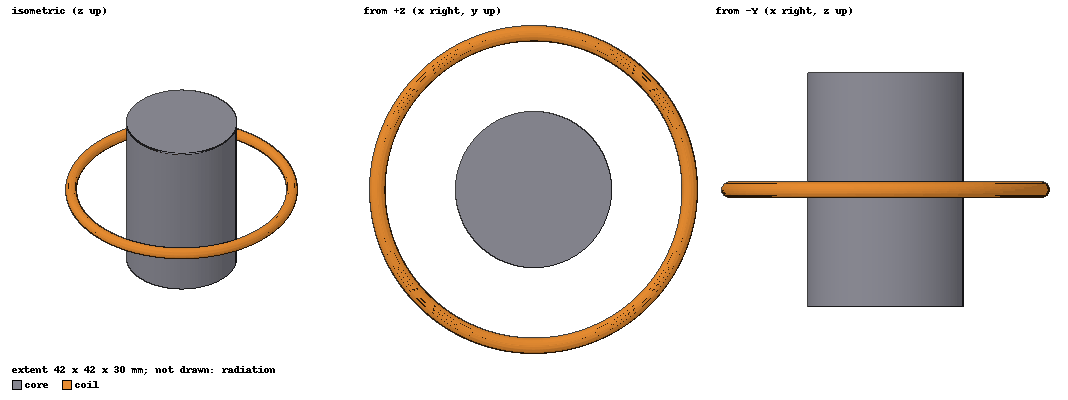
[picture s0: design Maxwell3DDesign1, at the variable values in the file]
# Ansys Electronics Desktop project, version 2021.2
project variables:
  $mu = 5000
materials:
  vacuum: permittivity=1
  copper: permeability=0.999991 conductivity=58000000
  Material1: permeability=$mu
  iron: permeability=4000 conductivity=10300000
  Steel_1008: permeability{HUnit=A_per_meter BUnit=tesla curve (0, 0) (159.2, 0.2402) (318.3, 0.8654) (477.5, 1.1106) (636.6, 1.2458) (795.8, 1.331) (1591.5, 1.5) (3183.1, 1.6) (4774.6, 1.683) (6366.2, 1.741) (7957.7, 1.78) (15915.5, 1.905) (31831, 2.025) (47746.5, 2.085) (63662, 2.13) (79577.5, 2.165) (159155, 2.28) (318310, 2.485) (397887, 2.5851)}
  Material06_precise: permeability{HUnit=A_per_meter BUnit=tesla curve (0, 0) (1, 0.000797) (1.149757, 0.000916) (1.321941, 0.001054) (1.519911, 0.001211) (1.747528, 0.001393) (2.009233, 0.001601) (2.31013, 0.001841) (2.656088, 0.002117) (3.053856, 0.002434) (3.511192, 0.002799) (4.037017, 0.003218) (4.641589, 0.003699) (5.336699, 0.004254) (6.135907, 0.00489) (7.054802, 0.005623) (8.111308, 0.006465) (9.326033, 0.007433) (10.722672, 0.008546) (12.328467, 0.009826) (14.174742, 0.011298) (16.297508, 0.012989) (18.738174, 0.014934) (21.544347, 0.017171) (24.770764, 0.019742) (28.480359, 0.022698) (32.745492, 0.026097) (37.649358, 0.030004) (43.287613, 0.034496) (49.770236, 0.03966) (57.223677, 0.045597) (65.793322, 0.05242) (75.646333, 0.060264) (86.9749, 0.069278) (100, 0.079637) (114.9757, 0.091539) (132.194115, 0.10521) (151.991108, 0.12091) (174.75284, 0.138931) (200.9233, 0.159608) (231.01297, 0.183314) (265.608778, 0.210469) (305.385551, 0.241539) (351.119173, 0.277034) (403.701726, 0.317504) (464.158883, 0.363524) (533.669923, 0.415682) (613.590727, 0.474542) (705.480231, 0.540603) (811.130831, 0.614235) (932.603347, 0.695609) (1072.267222, 0.784605) (1232.846739, 0.880734) (1417.474163, 0.983076) (1629.750835, 1.090263) (1873.817423, 1.200531) (2154.43469, 1.311844) (2477.076356, 1.42207) (2848.035868, 1.52919) (3274.549163, 1.631465) (3764.935807, 1.727564) (4328.761281, 1.816602) (4977.023564, 1.898128) (5722.367659, 1.972057) (6579.332247, 2.038592) (7564.633276, 2.098132) (8697.490026, 2.151204) (10000, 2.198402) (11497.57, 2.240341) (13219.411, 2.277635) (15199.11083, 2.310869) (17475.284, 2.340601) (20092.33, 2.367345) (23101.297, 2.391584) (26560.878, 2.413761) (30538.555, 2.434292) (35111.917, 2.453565) (40370.173, 2.471947) (46415.888, 2.489793) (53366.992, 2.507445) (61359.073, 2.525248) (70548.023, 2.543546) (81113.083, 2.562695) (93260.335, 2.583068) (107226.72, 2.605063) (123284.67, 2.629107) (141747.42, 2.65567) (162975.08, 2.68527) (187381.74, 2.718484) (215443.47, 2.75596) (247707.64, 2.798429) (284803.59, 2.846718) (327454.92, 2.901771) (376493.58, 2.964661) (432876.13, 3.036615) (497702.36, 3.119036) (572236.77, 3.213531) (657933.22, 3.321945) (756463.33, 3.446392) (869749, 3.589299) (1000000, 3.753454)}
  m3_froe: permeability{HUnit=A_per_meter BUnit=tesla curve (0, 0) (1, 0.024693) (1.149757, 0.028338) (1.321941, 0.032513) (1.519911, 0.037291) (1.747528, 0.042756) (2.009233, 0.049003) (2.31013, 0.056135) (2.656088, 0.064272) (3.053856, 0.073543) (3.511192, 0.084094) (4.037017, 0.096082) (4.641589, 0.109682) (5.336699, 0.125081) (6.135907, 0.142478) (7.054802, 0.162086) (8.111308, 0.184125) (9.326033, 0.208821) (10.722672, 0.236397) (12.328467, 0.267072) (14.174742, 0.301048) (16.297508, 0.338503) (18.738174, 0.379576) (21.544347, 0.424361) (24.770764, 0.472888) (28.480359, 0.525114) (32.745492, 0.580916) (37.649358, 0.640074) (43.287613, 0.702276) (49.770236, 0.767114) (57.223677, 0.834092) (65.793322, 0.902639) (75.646333, 0.972124) (86.9749, 1.041881) (100, 1.111237) (114.9757, 1.179529) (132.194115, 1.24614) (151.991108, 1.310509) (174.75284, 1.37216) (200.9233, 1.430702) (231.01297, 1.485842) (265.608778, 1.537383) (305.385551, 1.585215) (351.119173, 1.629314) (403.701726, 1.669725) (464.158883, 1.706552) (533.669923, 1.739944) (613.590727, 1.770087) (705.480231, 1.797189) (811.130831, 1.821472) (932.603347, 1.843163) (1072.267222, 1.862491) (1232.846739, 1.879677) (1417.474163, 1.894935) (1629.750835, 1.908467) (1873.817423, 1.920464) (2154.43469, 1.931101) (2477.076356, 1.940541) (2848.035868, 1.948935) (3274.549163, 1.956418) (3764.935807, 1.963118) (4328.761281, 1.969148) (4977.023564, 1.974615) (5722.367659, 1.979616) (6579.332247, 1.984241) (7564.633276, 1.988576) (8697.490026, 1.992701) (10000, 1.996693) (11497.57, 2.000628) (13219.411, 2.004581) (15199.11083, 2.008628) (17475.284, 2.012846) (20092.33, 2.017317) (23101.297, 2.022128) (26560.878, 2.027372) (30538.555, 2.03315) (35111.917, 2.039576) (40370.173, 2.046775) (46415.888, 2.054887) (53366.992, 2.064069) (61359.073, 2.074502) (70548.023, 2.086388) (81113.083, 2.099959) (93260.335, 2.11548) (107226.72, 2.133254) (123284.67, 2.153627) (141747.42, 2.176997) (162975.08, 2.203819) (187381.74, 2.234617) (215443.47, 2.269992) (247707.64, 2.310633) (284803.59, 2.357333) (327454.92, 2.411003) (376493.58, 2.472691) (432876.13, 2.543599) (497702.36, 2.62511) (572236.77, 2.718814) (657933.22, 2.82654) (756463.33, 2.950388) (869749, 3.092775) (1000000, 3.256477)}
  met_froe: permeability{HUnit=A_per_meter BUnit=tesla curve (0, 0) (1, 0.012374) (1.149757, 0.014206) (1.321941, 0.016305) (1.519911, 0.018709) (1.747528, 0.021462) (2.009233, 0.024611) (2.31013, 0.028212) (2.656088, 0.032324) (3.053856, 0.037018) (3.511192, 0.04237) (4.037017, 0.048463) (4.641589, 0.055391) (5.336699, 0.063256) (6.135907, 0.072168) (7.054802, 0.082247) (8.111308, 0.093619) (9.326033, 0.106416) (10.722672, 0.120774) (12.328467, 0.136832) (14.174742, 0.154725) (16.297508, 0.174579) (18.738174, 0.196512) (21.544347, 0.220618) (24.770764, 0.246968) (28.480359, 0.275597) (32.745492, 0.3065) (37.649358, 0.339621) (43.287613, 0.374852) (49.770236, 0.412028) (57.223677, 0.450924) (65.793322, 0.491259) (75.646333, 0.532703) (86.9749, 0.574886) (100, 0.61741) (114.9757, 0.659862) (132.194115, 0.701836) (151.991108, 0.742942) (174.75284, 0.782821) (200.9233, 0.821161) (231.01297, 0.857702) (265.608778, 0.892239) (305.385551, 0.924629) (351.119173, 0.954783) (403.701726, 0.982665) (464.158883, 1.008287) (533.669923, 1.031699) (613.590727, 1.052982) (705.480231, 1.072241) (811.130831, 1.0896) (932.603347, 1.105191) (1072.267222, 1.119155) (1232.846739, 1.131633) (1417.474163, 1.142763) (1629.750835, 1.15268) (1873.817423, 1.161515) (2154.43469, 1.169388) (2477.076356, 1.176414) (2848.035868, 1.1827) (3274.549163, 1.188345) (3764.935807, 1.19344) (4328.761281, 1.198072) (4977.023564, 1.202321) (5722.367659, 1.20626) (6579.332247, 1.209961) (7564.633276, 1.21349) (8697.490026, 1.216914) (10000, 1.220296) (11497.57, 1.2237) (13219.411, 1.22719) (15199.11083, 1.230834) (17475.284, 1.234702) (20092.33, 1.238868) (23101.297, 1.243414) (26560.878, 1.248427) (30538.555, 1.254005) (35111.917, 1.260256) (40370.173, 1.267303) (46415.888, 1.275282) (53366.992, 1.28435) (61359.073, 1.294682) (70548.023, 1.306481) (81113.083, 1.319977) (93260.335, 1.335432) (107226.72, 1.353149) (123284.67, 1.373472) (141747.42, 1.396798) (162975.08, 1.423583) (187381.74, 1.454348) (215443.47, 1.489694) (247707.64, 1.530311) (284803.59, 1.576989) (327454.92, 1.630641) (376493.58, 1.692312) (432876.13, 1.763206) (497702.36, 1.844704) (572236.77, 1.938398) (657933.22, 2.046115) (756463.33, 2.169955) (869749, 2.312334) (1000000, 2.47603)}
  m3_atan: permeability{HUnit=A_per_meter BUnit=tesla curve (0, 0) (1, 0.015001) (1.149757, 0.017247) (1.321941, 0.01983) (1.519911, 0.022799) (1.747528, 0.026212) (2.009233, 0.030137) (2.31013, 0.034649) (2.656088, 0.039835) (3.053856, 0.045797) (3.511192, 0.052651) (4.037017, 0.060527) (4.641589, 0.06958) (5.336699, 0.079981) (6.135907, 0.091931) (7.054802, 0.105656) (8.111308, 0.121414) (9.326033, 0.139499) (10.722672, 0.160241) (12.328467, 0.184014) (14.174742, 0.211232) (16.297508, 0.242353) (18.738174, 0.277874) (21.544347, 0.318327) (24.770764, 0.364261) (28.480359, 0.416222) (32.745492, 0.474717) (37.649358, 0.540167) (43.287613, 0.612839) (49.770236, 0.692774) (57.223677, 0.779705) (65.793322, 0.872981) (75.646333, 0.971532) (86.9749, 1.073882) (100, 1.178223) (114.9757, 1.282567) (132.194115, 1.384923) (151.991108, 1.483488) (174.75284, 1.576781) (200.9233, 1.663735) (231.01297, 1.743701) (265.608778, 1.816409) (305.385551, 1.881902) (351.119173, 1.940449) (403.701726, 1.992472) (464.158883, 2.038478) (533.669923, 2.079015) (613.590727, 2.114633) (705.480231, 2.145867) (811.130831, 2.173215) (932.603347, 2.197139) (1072.267222, 2.218055) (1232.846739, 2.23634) (1417.474163, 2.252329) (1629.750835, 2.266319) (1873.817423, 2.278575) (2154.43469, 2.289328) (2477.076356, 2.298785) (2848.035868, 2.307127) (3274.549163, 2.314516) (3764.935807, 2.321094) (4328.761281, 2.326988) (4977.023564, 2.332314) (5722.367659, 2.337175) (6579.332247, 2.341665) (7564.633276, 2.345873) (8697.490026, 2.349878) (10000, 2.353761) (11497.57, 2.357597) (13219.411, 2.36146) (15199.11083, 2.365425) (17475.284, 2.369571) (20092.33, 2.373978) (23101.297, 2.378731) (26560.878, 2.383924) (30538.555, 2.389659) (35111.917, 2.396045) (40370.173, 2.40321) (46415.888, 2.411291) (53366.992, 2.420447) (61359.073, 2.430856) (70548.023, 2.442722) (81113.083, 2.456275) (93260.335, 2.47178) (107226.72, 2.489541) (123284.67, 2.509902) (141747.42, 2.533261) (162975.08, 2.560075) (187381.74, 2.590865) (215443.47, 2.626232) (247707.64, 2.666868) (284803.59, 2.713563) (327454.92, 2.767228) (376493.58, 2.828912) (432876.13, 2.899816) (497702.36, 2.981324) (572236.77, 3.075026) (657933.22, 3.18275) (756463.33, 3.306596) (869749, 3.448981) (1000000, 3.612682)}
  gen_atan: permeability{HUnit=A_per_meter BUnit=tesla curve (0, 0) (1, 0.000797) (1.149757, 0.000916) (1.321941, 0.001054) (1.519911, 0.001211) (1.747528, 0.001393) (2.009233, 0.001601) (2.31013, 0.001841) (2.656088, 0.002117) (3.053856, 0.002434) (3.511192, 0.002799) (4.037017, 0.003218) (4.641589, 0.003699) (5.336699, 0.004254) (6.135907, 0.00489) (7.054802, 0.005623) (8.111308, 0.006465) (9.326033, 0.007433) (10.722672, 0.008546) (12.328467, 0.009826) (14.174742, 0.011298) (16.297508, 0.012989) (18.738174, 0.014934) (21.544347, 0.017171) (24.770764, 0.019742) (28.480359, 0.022698) (32.745492, 0.026097) (37.649358, 0.030004) (43.287613, 0.034496) (49.770236, 0.03966) (57.223677, 0.045597) (65.793322, 0.05242) (75.646333, 0.060264) (86.9749, 0.069278) (100, 0.079637) (114.9757, 0.091539) (132.194115, 0.10521) (151.991108, 0.12091) (174.75284, 0.138931) (200.9233, 0.159608) (231.01297, 0.183314) (265.608778, 0.210469) (305.385551, 0.241539) (351.119173, 0.277034) (403.701726, 0.317504) (464.158883, 0.363524) (533.669923, 0.415682) (613.590727, 0.474542) (705.480231, 0.540603) (811.130831, 0.614235) (932.603347, 0.695609) (1072.267222, 0.784605) (1232.846739, 0.880734) (1417.474163, 0.983076) (1629.750835, 1.090263) (1873.817423, 1.200531) (2154.43469, 1.311844) (2477.076356, 1.42207) (2848.035868, 1.52919) (3274.549163, 1.631465) (3764.935807, 1.727564) (4328.761281, 1.816602) (4977.023564, 1.898128) (5722.367659, 1.972057) (6579.332247, 2.038592) (7564.633276, 2.098132) (8697.490026, 2.151204) (10000, 2.198402) (11497.57, 2.240341) (13219.411, 2.277635) (15199.11083, 2.310869) (17475.284, 2.340601) (20092.33, 2.367345) (23101.297, 2.391584) (26560.878, 2.413761) (30538.555, 2.434292) (35111.917, 2.453565) (40370.173, 2.471947) (46415.888, 2.489793) (53366.992, 2.507445) (61359.073, 2.525248) (70548.023, 2.543546) (81113.083, 2.562695) (93260.335, 2.583068) (107226.72, 2.605063) (123284.67, 2.629107) (141747.42, 2.65567) (162975.08, 2.68527) (187381.74, 2.718484) (215443.47, 2.75596) (247707.64, 2.798429) (284803.59, 2.846718) (327454.92, 2.901771) (376493.58, 2.964661) (432876.13, 3.036615) (497702.36, 3.119036) (572236.77, 3.213531) (657933.22, 3.321945) (756463.33, 3.446392) (869749, 3.589299) (1000000, 3.753454)}

design Maxwell3DDesign1 (Maxwell 3D, Magnetostatic, model units mm)
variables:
  radius = 10mm
  height = 30mm
  ysize = 50mm
  zsize = 50mm
  xbox = 200mm
  ybox = 200mm
  zbox = 200mm
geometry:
  core [gen_atan] = cylinder(axis=Z, base_centre=(0mm, 0mm, -height/2), radius=radius, height=height)
  coil [copper] = torus(axis=Z, centre=(0mm, 0mm, 0mm), major_radius=20mm, minor_radius=1mm)
  port = rectangle(corner=(0mm, -ysize/2, -zsize/2), y_size=ysize, z_size=zsize)
  Torus2 = torus(axis=Z, centre=(0mm, 0mm, 0mm), major_radius=20mm, minor_radius=1mm)
  port.intersect(Torus2)
  port.split(plane=ZX, keep=PositiveOnly)
  radiation [vacuum] = box(corner=(-xbox/2, -ybox/2, -zbox/2), size=(xbox, ybox, zbox))
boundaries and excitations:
  ZeroTangentialHField1: Zero Tangential H Field Faces=radiation.face(all 6)
  Current1: Current Objects=port Current=20000A IsSolid=true Point_out_of_terminal=false
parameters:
  Matrix1: Matrix Current1: NumberOfTurns=1
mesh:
  initial mesh: GlobalCurvilinear{Apply}
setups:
  Setup1: Magnetostatic MaximumPasses=20 MinimumPasses=2 MinimumConvergedPasses=1 PercentRefinement=30 PercentError=1e-09 NonLinearResidual=0.001
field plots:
  Mag_H1: H over a plane on Setup1 : LastAdaptive
